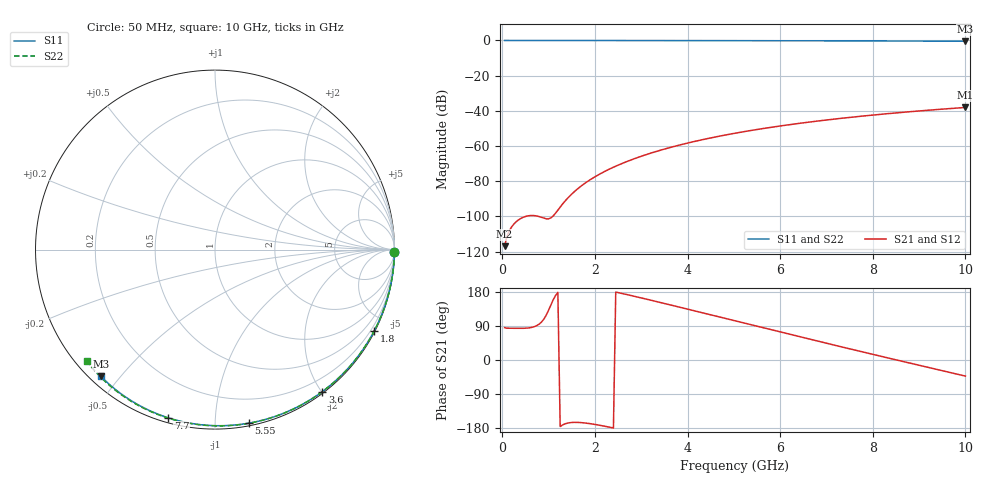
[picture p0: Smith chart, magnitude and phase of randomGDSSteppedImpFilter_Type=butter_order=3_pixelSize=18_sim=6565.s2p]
! freq	dB(S11)	phase(S11)	dB(S12)	phase(S12)
!  dB(S21)	phase(S21)	dB(S22)	phase(S22)
!S-par simulation data
#  GHz  S  DB  R 50
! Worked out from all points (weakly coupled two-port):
!   200 points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, 50 MHz to 10 GHz, reference 50 ohm
!   highest |S21| = -38.08 dB at 10 GHz (marker M1); lowest = -116.9 dB at 50 MHz (marker M2)
!   lowest |S11| = -0.4 dB at 10 GHz (marker M3), VSWR 38.98, Z = 1.54 - j22.3 ohm
!   |S11| at or under -10 dB: nowhere
!   |S22| runs from -0.5 to 0.0 dB; largest |S21 - S12| = 0
!   S11 on the Smith chart (normalised r, x): 50 MHz: open; 1.8 GHz: 0.04, -4.16; 3.6 GHz: 0.02, -2.01; 5.55 GHz: 0.02, -1.21; 7.7 GHz: 0.02, -0.76; 10 GHz: 0.03, -0.45
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0.05  -0.00 -0.8  -116.93 85.3  -116.93 85.3  -0.00 -0.8
0.45  -0.01 -6.9  -100.53 83.6  -100.53 83.6  -0.01 -7.2
0.9  -0.02 -13.7  -101.03 108.3  -101.03 108.3  -0.02 -14.4
1.75  -0.03 -26.3  -81.81 -165.7  -81.81 -165.7  -0.04 -27.8
1.8  -0.03 -27.0  -80.87 -166.4  -80.87 -166.4  -0.04 -28.6
1.85  -0.04 -27.8  -79.98 -167.2  -79.98 -167.2  -0.04 -29.3
2  -0.04 -30.0  -77.50 -170.0  -77.50 -170.0  -0.04 -31.7
2.15  -0.04 -32.2  -75.29 -173.3  -75.29 -173.3  -0.04 -34.0
2.35  -0.04 -35.1  -72.66 -178.2  -72.66 -178.2  -0.05 -37.0
2.55  -0.05 -38.0  -70.31 176.5  -70.31 176.5  -0.05 -40.1
2.95  -0.06 -43.7  -66.28 165.3  -66.28 165.3  -0.06 -46.1
3.4  -0.07 -50.1  -62.50 152.2  -62.50 152.2  -0.07 -52.8
3.6  -0.07 -52.9  -61.01 146.2  -61.01 146.2  -0.08 -55.8
4.3  -0.09 -62.5  -56.52 125.2  -56.52 125.2  -0.09 -65.8
5.05  -0.11 -72.5  -52.61 102.5  -52.61 102.5  -0.12 -76.3
5.55  -0.13 -79.0  -50.40 87.4  -50.40 87.4  -0.14 -83.1
6.1  -0.15 -86.0  -48.24 70.9  -48.24 70.9  -0.16 -90.4
6.7  -0.18 -93.4  -46.16 53.1  -46.16 53.1  -0.19 -98.2
7.7  -0.24 -105.5  -43.19 23.6  -43.19 23.6  -0.25 -110.9
8.35  -0.29 -113.1  -41.54 4.8  -41.54 4.8  -0.30 -118.9
9.2  -0.36 -122.9  -39.64 -19.6  -39.64 -19.6  -0.38 -129.2
10  -0.45 -131.9  -38.08 -42.5  -38.08 -42.5  -0.47 -138.9
